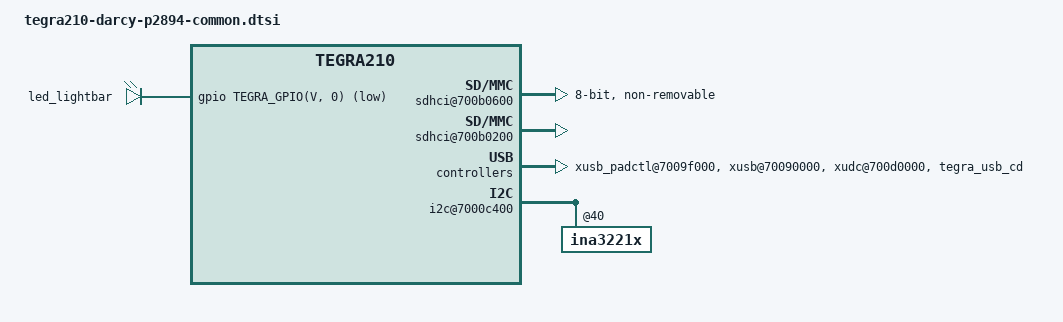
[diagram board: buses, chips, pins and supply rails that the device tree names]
/*
 * arch/arm64/boot/dts/tegra210-darcy-p2894-common.dtsi
 *
 * Copyright (c) 2015-2018, NVIDIA CORPORATION.  All rights reserved.
 *
 * This program is free software; you can redistribute it and/or modify
 * it under the terms of the GNU General Public License as published by
 * the Free Software Foundation; version 2 of the License.
 *
 * This program is distributed in the hope that it will be useful, but WITHOUT
 * ANY WARRANTY; without even the implied warranty of MERCHANTABILITY or
 * FITNESS FOR A PARTICULAR PURPOSE.  See the GNU General Public License for
 * more details.
 *
 * You should have received a copy of the GNU General Public License along
 * with this program; if not, write to the Free Software Foundation, Inc.,
 * 51 Franklin Street, Fifth Floor, Boston, MA  02110-1301, USA.
 *
 */

/dts-v1/;

/memreserve/ 0x80000000 0x00020000;

#include <t210-common-platforms/tegra210-common.dtsi>
#include <tegra210-soc/tegra210-sdhci.dtsi>
#include <t210-common-platforms/tegra210-p2530-common.dtsi>
#include "foster-platforms/tegra210-darcy-gpio-p2894-0000-a00.dtsi"
#include "foster-platforms/tegra210-darcy-power-tree-p2894-0000-a00.dtsi"
#include "foster-platforms/tegra210-pinmux-drive-sdmmc-common.dtsi"
#include "foster-platforms/tegra210-loki-e-comms.dtsi"
#include "foster-platforms/tegra210-darcy-pwm-fan.dtsi"
#include "foster-platforms/tegra210-foster-e-camera.dtsi"
#include <t210-common-platforms/tegra210-ers-hdmi-e2190-1100-a00.dtsi>
#include "foster-platforms/tegra210-darcy-thermal-fan-est.dtsi"
#include "foster-platforms/tegra210-loki-e-keys-p2530-0032-e00.dtsi"
#include <dt-bindings/iio/meter/ina3221x.h>
#include <tegra210-soc/tegra210-audio.dtsi>
#include "foster-platforms/tegra210-foster-cpufreq.dtsi"
#include "foster-platforms/tegra210-foster-e-power-dvfs.dtsi"
#include "foster-platforms/tegra210-foster-powermon-p2530-0930-e01.dtsi"

/ {
	firmware {
		android {
			compatible = "android,firmware";
			first_stage_delay = "1";
			fstab {
				compatible = "android,fstab";
				system {
					compatible = "android,system";
					dev = "/dev/block/platform/sdhci-tegra.3/by-name/APP";
					type = "ext4";
					mnt_flags = "ro,noatime";
					fsmgr_flags = "wait,verify=/dev/block/platform/sdhci-tegra.3/by-name/MDA";
				};
				vendor {
					compatible = "android,vendor";
					dev = "/dev/block/platform/sdhci-tegra.3/by-name/vendor";
					type = "ext4";
					mnt_flags = "ro,noatime";
					fsmgr_flags = "wait,verify=/dev/block/platform/sdhci-tegra.3/by-name/MDA";
				};
			};
		};
	};

	host1x {
		/* tegradc.0 */
		dc@54200000 {
			status = "okay";
			nvidia,dc-flags = <TEGRA_DC_FLAG_ENABLED>;
			nvidia,emc-clk-rate = <300000000>;
			nvidia,cmu-enable = <1>;
			nvidia,fb-bpp = <32>; /* bits per pixel */
			nvidia,fb-flags = <TEGRA_FB_FLIP_ON_PROBE>;
			nvidia,dc-or-node = "/host1x/sor1";
			nvidia,50hz-ss-war;
		};
	};

	pwm@7000a000 {
		nvidia,no-clk-sleeping-in-ops;
	};

	pmc@7000e400 {
		nvidia,core-pwr-req-active-high;
		nvidia,sys-clock-req-active-high;
		iopad-defaults {
			audio-hv-pads {
				pins = "audio-hv";
				nvidia,power-source-voltage = <TEGRA_IO_PAD_VOLTAGE_1800000UV>;
			};

			spi-hv-pads {
				pins = "spi-hv";
				nvidia,power-source-voltage = <TEGRA_IO_PAD_VOLTAGE_1800000UV>;
			};

			gpio-pads {
				pins = "gpio";
				nvidia,power-source-voltage = <TEGRA_IO_PAD_VOLTAGE_1800000UV>;
			};

			sdmmc-io-pads {
				pins = "sdmmc1", "sdmmc3";
				nvidia,enable-voltage-switching;
			};
		};
	};

	spi@7000da00 {
		status = "disabled";
	};

	sdhci@700b0600 { /* SDMMC4 for EMMC */
		uhs-mask = <0x0>;
		mmc-hs400-enhanced-strobe;
		built-in;
		power-off-rail;
		status = "okay";
		bus-width = <8>;
		non-removable;
	};

	sdhci@700b0200 { /* SDMMC2 for Wifi */
		uhs-mask = <0x8>;
		power-off-rail;
		force-non-removable-rescan;
		status = "okay";
	};

	/* No SD Card for Darcy */
	sdhci@700b0000 { /* SDMMC1 for SD card */
		status = "disabled";
	};

#if defined(LINUX_VERSION) && LINUX_VERSION >= 409
	aconnect@702c0000 {
#endif

	adma: adma@702e2000 {
		dma-channels = <2>;
	};

	ahub {
		i2s@702d1100 {
			pinctrl-names = "dap_active", "dap_inactive";
			pinctrl-0 = <>;
			pinctrl-1 = <>;
			regulator-supplies = "vdd-1v8-spi-hv", "vdd-1v8-spi-hv-bias";
			vdd-1v8-spi-hv-supply = <&max77620_sd3>;
			vdd-1v8-spi-hv-bias-supply = <&max77620_sd3>;
			fsync-width = <0>;
		};
	};
#if defined(LINUX_VERSION) && LINUX_VERSION >= 409
	};
#endif

	sound_card: sound {

#if defined(LINUX_VERSION) && LINUX_VERSION >= 409
		compatible = "nvidia,tegra-audio-t210ref-mobile-rt565x";
		nvidia,model = "tegra-snd-t210ref-mobile-rt565x";

		clocks = <&tegra_car TEGRA210_CLK_PLL_P_OUT1>,
			<&tegra_car TEGRA210_CLK_PLL_A>,
			<&tegra_car TEGRA210_CLK_PLL_A_OUT0>,
			<&tegra_car TEGRA210_CLK_D_AUDIO>,
			<&tegra_car TEGRA210_CLK_CLK_M>,
			<&tegra_car TEGRA210_CLK_EXTERN1>;
		clock-names = "pll_p_out1", "pll_a", "pll_a_out0", "ahub",
			"clk_m", "extern1";

		assigned-clocks = <&tegra_car TEGRA210_CLK_PLL_A>,
			<&tegra_car TEGRA210_CLK_PLL_A_OUT0>,
			<&tegra_car TEGRA210_CLK_D_AUDIO>,
			<&tegra_car TEGRA210_CLK_EXTERN1>;
		assigned-clock-rates = <368640000>, <36864000>,
			<36864000>, <12288000>;
		nvidia,num-codec-link = <1>;

		nvidia,audio-routing =
			"y Headphone", 	"y OUT",
			"y IN",		"y Mic";

		nvidia,xbar = <&tegra_axbar>;

		/* The codec-dai here is initialized to dummy and will be   */
		/* replaced with rt565x codec-dai on detecting super-module */
		nvidia,dai-link-1 {
			link-name = "rt565x-playback";
			cpu-dai = <&tegra_i2s2>;
			codec-dai = <&spdif_dit0>;
			cpu-dai-name = "I2S2";
			codec-dai-name = "dit-hifi";
			tx-mask = <0xFF>;
			rx-mask = <0xFF>;
			format = "dsp_a";
			bitclock-slave;
			frame-slave;
			bitclock-inversion;
			frame-noninversion;
			bit-format = "s16_le";
			bclk_ratio = <4>;
			srate = <48000>;
			num-channel = <1>;
			ignore_suspend;
			name-prefix = "y";
		};
#else
		compatible = "nvidia,tegra-audio-t210ref-mobile-foster";
		nvidia,model = "tegra-snd-t210ref-mobile-es755";
		nvidia,num-codec-link = <1>;

		nvidia,audio-routing =
			"y Headphone", 	"y OUT",
			"y IN",		"y Mic";

		nvidia,xbar = <&tegra_axbar>;

		nvidia,dai-link-1 {
			link-name = "spdif-dit-1";
			cpu-dai = <&tegra_i2s2>;
			codec-dai = <&spdif_dit1>;
			cpu-dai-name = "I2S2";
			codec-dai-name = "dit-hifi";
			format = "dsp_a";
			bitclock-slave;
			frame-slave;
			bitclock-inversion;
			frame-noninversion;
			bit-format = "s16_le";
			bclk_ratio = <4>;
			srate = <8000>;
			num-channel = <1>;
			name-prefix = "y";
		};
#endif
	};

	extcon {
		extcon@0 {
			status = "disabled";
		};
	};

	xusb_padctl@7009f000 {
		status = "okay";

		pads {
			usb2 {
				status = "okay";

				lanes {
					usb2-0 {
						status = "okay";
						nvidia,function = "xusb";
					};
					usb2-2 {
						status = "okay";
						nvidia,function = "xusb";
					};
				};
			};

			pcie {
				status = "okay";

				lanes {
					pcie-0 {
						status = "okay";
						nvidia,function = "pcie-x1";
					};
					pcie-1 {
						status = "okay";
						nvidia,function = "pcie-x4";
					};
					pcie-2 {
						status = "okay";
						nvidia,function = "pcie-x4";
					};
					pcie-3 {
						status = "okay";
						nvidia,function = "pcie-x4";
					};
					pcie-4 {
						status = "okay";
						nvidia,function = "pcie-x4";
					};
					pcie-5 {
						status = "okay";
						nvidia,function = "xusb";
					};
					pcie-6 {
						status = "okay";
						nvidia,function = "xusb";
					};
				};
			};
		};

		ports {
			usb2-0 {
				status = "okay";
				mode = "otg";
			};
			usb2-2 {
				status = "okay";
				mode = "host";
			};
			usb3-0 {
				status = "okay";
				nvidia,usb2-companion = <0>;
			};
			usb3-1 {
				status = "okay";
				nvidia,usb2-companion = <2>;
			};
		};
	};

	xusb@70090000 {
		phys = <&{/xusb_padctl@7009f000/pads/usb2/lanes/usb2-0}>,
				<&{/xusb_padctl@7009f000/pads/usb2/lanes/usb2-2}>,
				<&{/xusb_padctl@7009f000/pads/pcie/lanes/pcie-6}>,
				<&{/xusb_padctl@7009f000/pads/pcie/lanes/pcie-5}>;
		phy-names = "usb2-0", "usb2-2", "usb3-0", "usb3-1";
		#extcon-cells = <1>;
		nvidia,pmc-wakeup =
			<&tegra_pmc
				PMC_WAKE_TYPE_EVENT 39 PMC_TRIGGER_TYPE_HIGH>,
			<&tegra_pmc
				PMC_WAKE_TYPE_EVENT 40 PMC_TRIGGER_TYPE_HIGH>,
			<&tegra_pmc
				PMC_WAKE_TYPE_EVENT 41 PMC_TRIGGER_TYPE_HIGH>,
			<&tegra_pmc
				PMC_WAKE_TYPE_EVENT 42 PMC_TRIGGER_TYPE_HIGH>,
			<&tegra_pmc
				PMC_WAKE_TYPE_EVENT 44 PMC_TRIGGER_TYPE_HIGH>;
		status = "okay";
	};

	xudc@700d0000 {
		phys =  <&{/xusb_padctl@7009f000/pads/usb2/lanes/usb2-0}>,
				<&{/xusb_padctl@7009f000/pads/pcie/lanes/pcie-6}>;
		phy-names = "usb2", "usb3";
		charger-detector = <&tegra_usb_cd>;
		#extcon-cells = <1>;
		status = "okay";
	};

	tegra_usb_cd: usb_cd {
		reg = <0x0 0x7009f000 0x0 0x1000>;
		phys = <&{/xusb_padctl@7009f000/pads/usb2/lanes/usb2-0}>;
		phy-names = "otg-phy";
		status = "okay";
	};

	psy_extcon_xudc {
		/delete-property/ dt-override-status-odm-data;
	};

	xotg {
		#extcon-cells = <1>;
	};

	chosen {
		nvidia,tegra-shield-sku;
		no-tnid-sn;
		bootargs = "androidboot.secureos=tlk";
		nvidia,bootloader-xusb-enable;
		nvidia,bootloader-vbus-enable=<0x1>;
		fastboot-instructions = "Press X/Y to move highlight\nPress Button A to select\nConnect SHIELD Controller using USB cable. Use USB port near HDMI port for the controller and USB port away for PC connection\n";
		nvidia,fastboot_without_usb;
		nvidia,gpu-disable-power-saving;
		firmware-blob-partition = "RP4";
		verified-boot {
			ui-timeout-ms {
				yellow-state = <7000>;
				red-state = <10000>;
				orange-state = <10000>;
			};
		};
	};

	tlk {
		status = "okay";
	};

	gpio-keys {
		power {
			gpios = <&gpio TEGRA_GPIO(X, 7) GPIO_ACTIVE_LOW>;
		};

		sw_lid {
			status="disabled";
		};
	};

	gpio-timed-keys {
		status="disabled";
		disable-on-recovery-kernel;
	};

	gpu-dvfs-rework {
		status = "disabled";
	};
	pwm-leds {
		compatible = "pwm-leds";
		lightbar {
			label = "led_lightbar";
			pwms = <&tegra_pwm 0 10000000>;
			gpios = <&gpio TEGRA_GPIO(V, 0) GPIO_ACTIVE_LOW>;
			max-brightness = <255>;
			default-brightness = <255>;
			linux,default-trigger = "default-on";
		};
	};
	soctherm@0x700E2000 {
		throttle@oc1 {
			status = "disabled";
		};
	};

	bcmdhd_wlan {
		clm_blob_path = "/vendor/firmware/bcmdhd_clm_darcy.blob";
		sdhci-host = <&sdhci1>;
		pwr-retry-cnt = <5>;
		builtin-roam-disabled;
		country_code_map {
			CC_XV {
				iso_abbrev = "XV";
				custom_locale = "XV";
				custom_locale_rev = <0>;
			};
			CC_US {
				iso_abbrev = "US";
				custom_locale = "US";
				custom_locale_rev = <0>;
			};
			CC_CA {
				iso_abbrev = "CA";
				custom_locale = "Q2";
				custom_locale_rev = <0>;
			};
			CC_AT {
				iso_abbrev = "AT";
				custom_locale = "DE";
				custom_locale_rev = <0>;
			};
			CC_BE {
				iso_abbrev = "BE";
				custom_locale = "DE";
				custom_locale_rev = <0>;
			};
			CC_BG {
				iso_abbrev = "BG";
				custom_locale = "DE";
				custom_locale_rev = <0>;
			};
			CC_HR {
				iso_abbrev = "HR";
				custom_locale = "DE";
				custom_locale_rev = <0>;
			};
			CC_CY {
				iso_abbrev = "CY";
				custom_locale = "DE";
				custom_locale_rev = <0>;
			};
			CC_CZ {
				iso_abbrev = "CZ";
				custom_locale = "DE";
				custom_locale_rev = <0>;
			};
			CC_DK {
				iso_abbrev = "DK";
				custom_locale = "DE";
				custom_locale_rev = <0>;
			};
			CC_EE {
				iso_abbrev = "EE";
				custom_locale = "DE";
				custom_locale_rev = <0>;
			};
			CC_FI {
				iso_abbrev = "FI";
				custom_locale = "DE";
				custom_locale_rev = <0>;
			};
			CC_FR {
				iso_abbrev = "FR";
				custom_locale = "DE";
				custom_locale_rev = <0>;
			};
			CC_DE {
				iso_abbrev = "DE";
				custom_locale = "DE";
				custom_locale_rev = <0>;
			};
			CC_GR {
				iso_abbrev = "GR";
				custom_locale = "DE";
				custom_locale_rev = <0>;
			};
			CC_HU {
				iso_abbrev = "HU";
				custom_locale = "DE";
				custom_locale_rev = <0>;
			};
			CC_IS {
				iso_abbrev = "IS";
				custom_locale = "DE";
				custom_locale_rev = <0>;
			};
			CC_IE {
				iso_abbrev = "IE";
				custom_locale = "DE";
				custom_locale_rev = <0>;
			};
			CC_IT {
				iso_abbrev = "IT";
				custom_locale = "DE";
				custom_locale_rev = <0>;
			};
			CC_LV {
				iso_abbrev = "LV";
				custom_locale = "DE";
				custom_locale_rev = <0>;
			};
			CC_LI {
				iso_abbrev = "LI";
				custom_locale = "DE";
				custom_locale_rev = <0>;
			};
			CC_LT {
				iso_abbrev = "LT";
				custom_locale = "DE";
				custom_locale_rev = <0>;
			};
			CC_LU {
				iso_abbrev = "LU";
				custom_locale = "DE";
				custom_locale_rev = <0>;
			};
			CC_MT {
				iso_abbrev = "MT";
				custom_locale = "DE";
				custom_locale_rev = <0>;
			};
			CC_NL {
				iso_abbrev = "NL";
				custom_locale = "DE";
				custom_locale_rev = <0>;
			};
			CC_NO {
				iso_abbrev = "NO";
				custom_locale = "DE";
				custom_locale_rev = <0>;
			};
			CC_PL {
				iso_abbrev = "PL";
				custom_locale = "DE";
				custom_locale_rev = <0>;
			};
			CC_PT {
				iso_abbrev = "PT";
				custom_locale = "DE";
				custom_locale_rev = <0>;
			};
			CC_RO {
				iso_abbrev = "RO";
				custom_locale = "DE";
				custom_locale_rev = <0>;
			};
			CC_SK {
				iso_abbrev = "SK";
				custom_locale = "DE";
				custom_locale_rev = <0>;
			};
			CC_SI {
				iso_abbrev = "SI";
				custom_locale = "DE";
				custom_locale_rev = <0>;
			};
			CC_ES {
				iso_abbrev = "ES";
				custom_locale = "DE";
				custom_locale_rev = <0>;
			};
			CC_SE {
				iso_abbrev = "SE";
				custom_locale = "DE";
				custom_locale_rev = <0>;
			};
			CC_CH {
				iso_abbrev = "CH";
				custom_locale = "DE";
				custom_locale_rev = <0>;
			};
			CC_TR {
				iso_abbrev = "TR";
				custom_locale = "DE";
				custom_locale_rev = <0>;
			};
			CC_GB {
				iso_abbrev = "GB";
				custom_locale = "DE";
				custom_locale_rev = <0>;
			};
			CC_EU {
				iso_abbrev = "EU";
				custom_locale = "DE";
				custom_locale_rev = <0>;
			};
			CC_E0 {
				iso_abbrev = "E0";
				custom_locale = "DE";
				custom_locale_rev = <0>;
			};
			CC_AU {
				iso_abbrev = "AU";
				custom_locale = "AU";
				custom_locale_rev = <0>;
			};
			CC_CN {
				iso_abbrev = "CN";
				custom_locale = "CN";
				custom_locale_rev = <0>;
			};
			CC_IN {
				iso_abbrev = "IN";
				custom_locale = "IN";
				custom_locale_rev = <0>;
			};
			CC_JP {
				iso_abbrev = "JP";
				custom_locale = "JP";
				custom_locale_rev = <0>;
			};
			CC_KR {
				iso_abbrev = "KR";
				custom_locale = "KR";
				custom_locale_rev = <0>;
			};
			CC_RU {
				iso_abbrev = "RU";
				custom_locale = "RU";
				custom_locale_rev = <0>;
			};
			CC_TW {
				iso_abbrev = "TW";
				custom_locale = "US";
				custom_locale_rev = <0>;
			};
			CC_SG {
				iso_abbrev = "SG";
				custom_locale = "DE";
				custom_locale_rev = <0>;
			};
			CC_HK {
				iso_abbrev = "HK";
				custom_locale = "DE";
				custom_locale_rev = <0>;
			};
			CC_NZ {
				iso_abbrev = "NZ";
				custom_locale = "AU";
				custom_locale_rev = <0>;
			};
			CC_AP {
				iso_abbrev = "AP";
				custom_locale = "XY";
				custom_locale_rev = <0>;
			};
		};
	};

	serial@70006300 {
		dma-names = "tx";
	};

	i2c@7000c400 {
		ina3221x: ina3221x@40 {
			channel@0 {
				reg = <0x0>;
				ti,rail-name = "VDD_NOOP";
				ti,shunt-resistor-mohm = <5>;
			};
			channel@1 {
				reg = <0x1>;
				ti,rail-name = "VDD_IO";
				ti,shunt-resistor-mohm = <5>;
			};
			channel@2 {
				reg = <0x2>;
				ti,rail-name = "VDD_SYS";
				ti,shunt-resistor-mohm = <5>;
			};
		};
	};

	i2c@7000c500 {
		status = "disabled";
	};

	i2c@7000d100 {
		status = "disabled";
	};

	efuse@7000f800 {
		efuse-burn {
			nvidia,redundant-aid-war;
		};
	};

	nvs_dsm {
		compatible = "nvidia,nvs_dsm";
		status = "okay";
	};

	dfll_cap: dfll-cdev-cap {
		compatible = "nvidia,tegra-dfll-cdev-action";
		act-dev = <&tegra_clk_dfll>;
		cdev-type = "DFLL-cap";
		#cooling-cells = <2>; /* min followed by max */
	};

	dfll_floor: dfll-cdev-floor {
		compatible = "nvidia,tegra-dfll-cdev-action";
		act-dev = <&tegra_clk_dfll>;
		cdev-type = "DFLL-floor";
		#cooling-cells = <2>; /* min followed by max */
	};
};
